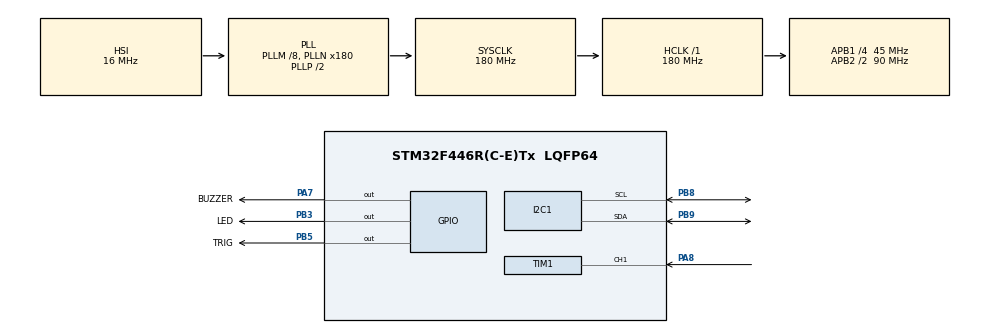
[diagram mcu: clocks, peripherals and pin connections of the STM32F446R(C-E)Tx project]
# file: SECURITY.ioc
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I2C1.I2C_Mode=I2C_Fast
Mcu.Family=STM32F4
Mcu.Name=STM32F446R(C-E)Tx
Mcu.Package=LQFP64
NVIC.PriorityGroup=NVIC_PRIORITYGROUP_4
NVIC.TIM1_CC_IRQn=true\:0\:0\:false\:false\:true\:true\:true\:true
PA7.GPIO_Label=BUZZER
PA7.Signal=GPIO_Output
PA8.Signal=S_TIM1_CH1
PB3.GPIO_Label=LED
PB3.Signal=GPIO_Output
PB5.GPIO_Label=TRIG
PB5.Signal=GPIO_Output
PB8.Mode=I2C
PB8.Signal=I2C1_SCL
PB9.Mode=I2C
PB9.Signal=I2C1_SDA
PH0-OSC_IN.Mode=HSE-External-Oscillator
PH0-OSC_IN.Signal=RCC_OSC_IN
PH1-OSC_OUT.Mode=HSE-External-Oscillator
PH1-OSC_OUT.Signal=RCC_OSC_OUT
ProjectManager.HeapSize=0x200
ProjectManager.StackSize=0x400
ProjectManager.TargetToolchain=STM32CubeIDE
RCC.AHBFreq_Value=180000000
RCC.APB1CLKDivider=RCC_HCLK_DIV4
RCC.APB1Freq_Value=45000000
RCC.APB1TimFreq_Value=90000000
RCC.APB2CLKDivider=RCC_HCLK_DIV2
RCC.APB2Freq_Value=90000000
RCC.APB2TimFreq_Value=180000000
RCC.CortexFreq_Value=180000000
RCC.HCLKFreq_Value=180000000
RCC.PLLM=8
RCC.PLLN=180
RCC.SYSCLKFreq_VALUE=180000000
RCC.SYSCLKSource=RCC_SYSCLKSOURCE_PLLCLK
RCC.USBFreq_Value=180000000
RCC.VCOOutputFreq_Value=360000000
SH.S_TIM1_CH1.0=TIM1_CH1,Input_Capture1_from_TI1
TIM1.AutoReloadPreload=TIM_AUTORELOAD_PRELOAD_ENABLE
TIM1.Channel-Input_Capture1_from_TI1=TIM_CHANNEL_1
TIM1.Prescaler=179
VP_TIM1_VS_ClockSourceINT.Mode=Internal
board=custom

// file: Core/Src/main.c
/* USER CODE BEGIN Header */
/**
  ******************************************************************************
  * @file           : main.c
  * @brief          : Proximity Alarm - Buzzer (PA7), LED (PB3), Ultrasonic (PA8/PB5)
  ******************************************************************************
  */
/* USER CODE END Header */
#include "main.h"

/* USER CODE BEGIN Includes */
#include <stdio.h>
#include "ssd1306.h"
#include "fonts.h"
/* USER CODE END Includes */

I2C_HandleTypeDef hi2c1;
TIM_HandleTypeDef htim1;

/* USER CODE BEGIN PV */
uint32_t p1 = 0, p2 = 0, diff = 0;
uint16_t distance = 0;
char buffer[32];
/* USER CODE END PV */

void SystemClock_Config(void);
static void MX_GPIO_Init(void);
static void MX_I2C1_Init(void);
static void MX_TIM1_Init(void);

int main(void)
{
  /* MCU Configuration */
  HAL_Init();
  SystemClock_Config();

  /* Initialize all configured peripherals */
  MX_GPIO_Init();
  MX_I2C1_Init();
  MX_TIM1_Init();

  /* USER CODE BEGIN 2 */
  SSD1306_Init();
  SSD1306_Fill(0);
  SSD1306_GotoXY(10, 10);
  SSD1306_Puts("ALARM SYSTEM", &Font_7x10, 1);
  SSD1306_UpdateScreen();
  HAL_Delay(1000);
  /* USER CODE END 2 */

  /* Infinite loop */
  /* USER CODE BEGIN WHILE */
  while (1)
  {
    /* 1. Trigger Pulse */
    HAL_GPIO_WritePin(GPIOB, GPIO_PIN_5, GPIO_PIN_SET); // TRIG_Pin
    HAL_Delay(1);
    HAL_GPIO_WritePin(GPIOB, GPIO_PIN_5, GPIO_PIN_RESET);

    /* 2. Enable Input Capture Interrupt */
    __HAL_TIM_ENABLE_IT(&htim1, TIM_IT_CC1);
    HAL_TIM_IC_Start_IT(&htim1, TIM_CHANNEL_1);

    HAL_Delay(100); // Measurement delay

    /* 3. Logic & OLED Display */
    SSD1306_Fill(0);

    sprintf(buffer, "Dist: %d cm", distance);
    SSD1306_GotoXY(5, 5);
    SSD1306_Puts(buffer, &Font_11x18, 1);

    // THRESHOLD MODIFICATION: 20 cm
    if (distance > 0 && distance <= 20)
    {
        HAL_GPIO_WritePin(GPIOA, GPIO_PIN_7, GPIO_PIN_SET); // BUZZER ON
        HAL_GPIO_WritePin(GPIOB, GPIO_PIN_3, GPIO_PIN_SET); // LED ON

        SSD1306_GotoXY(5, 35);
        SSD1306_Puts("STATUS: ALERT!", &Font_7x10, 1);
    }
    else
    {
        HAL_GPIO_WritePin(GPIOA, GPIO_PIN_7, GPIO_PIN_RESET); // BUZZER OFF
        HAL_GPIO_WritePin(GPIOB, GPIO_PIN_3, GPIO_PIN_RESET); // LED OFF

        SSD1306_GotoXY(5, 35);
        SSD1306_Puts("STATUS: SAFE  ", &Font_7x10, 1);
    }

    SSD1306_UpdateScreen();
    HAL_Delay(100);

    /* USER CODE END WHILE */
  }
}

void SystemClock_Config(void)
{
  RCC_OscInitTypeDef RCC_OscInitStruct = {0};
  RCC_ClkInitTypeDef RCC_ClkInitStruct = {0};

  __HAL_RCC_PWR_CLK_ENABLE();
  __HAL_PWR_VOLTAGESCALING_CONFIG(PWR_REGULATOR_VOLTAGE_SCALE1);

  RCC_OscInitStruct.OscillatorType = RCC_OSCILLATORTYPE_HSI;
  RCC_OscInitStruct.HSIState = RCC_HSI_ON;
  RCC_OscInitStruct.HSICalibrationValue = RCC_HSICALIBRATION_DEFAULT;
  RCC_OscInitStruct.PLL.PLLState = RCC_PLL_ON;
  RCC_OscInitStruct.PLL.PLLSource = RCC_PLLSOURCE_HSI;
  RCC_OscInitStruct.PLL.PLLM = 8;
  RCC_OscInitStruct.PLL.PLLN = 180;
  RCC_OscInitStruct.PLL.PLLP = RCC_PLLP_DIV2;
  RCC_OscInitStruct.PLL.PLLQ = 2;
  RCC_OscInitStruct.PLL.PLLR = 2;
  HAL_RCC_OscConfig(&RCC_OscInitStruct);
  HAL_PWREx_EnableOverDrive();

  RCC_ClkInitStruct.ClockType = RCC_CLOCKTYPE_HCLK|RCC_CLOCKTYPE_SYSCLK|RCC_CLOCKTYPE_PCLK1|RCC_CLOCKTYPE_PCLK2;
  RCC_ClkInitStruct.SYSCLKSource = RCC_SYSCLKSOURCE_PLLCLK;
  RCC_ClkInitStruct.AHBCLKDivider = RCC_SYSCLK_DIV1;
  RCC_ClkInitStruct.APB1CLKDivider = RCC_HCLK_DIV4;
  RCC_ClkInitStruct.APB2CLKDivider = RCC_HCLK_DIV2;
  HAL_RCC_ClockConfig(&RCC_ClkInitStruct, FLASH_LATENCY_5);
}

static void MX_I2C1_Init(void)
{
  hi2c1.Instance = I2C1;
  hi2c1.Init.ClockSpeed = 400000;
  hi2c1.Init.DutyCycle = I2C_DUTYCYCLE_2;
  hi2c1.Init.OwnAddress1 = 0;
  hi2c1.Init.AddressingMode = I2C_ADDRESSINGMODE_7BIT;
  hi2c1.Init.DualAddressMode = I2C_DUALADDRESS_DISABLE;
  hi2c1.Init.OwnAddress2 = 0;
  hi2c1.Init.GeneralCallMode = I2C_GENERALCALL_DISABLE;
  hi2c1.Init.NoStretchMode = I2C_NOSTRETCH_DISABLE;
  HAL_I2C_Init(&hi2c1);
}

static void MX_TIM1_Init(void)
{
  TIM_ClockConfigTypeDef sClockSourceConfig = {0};
  TIM_MasterConfigTypeDef sMasterConfig = {0};
  TIM_IC_InitTypeDef sConfigIC = {0};

  htim1.Instance = TIM1;
  htim1.Init.Prescaler = 179; // 180MHz Clock
  htim1.Init.CounterMode = TIM_COUNTERMODE_UP;
  htim1.Init.Period = 65535;
  htim1.Init.ClockDivision = TIM_CLOCKDIVISION_DIV1;
  htim1.Init.RepetitionCounter = 0;
  htim1.Init.AutoReloadPreload = TIM_AUTORELOAD_PRELOAD_ENABLE;
  HAL_TIM_Base_Init(&htim1);
  sClockSourceConfig.ClockSource = TIM_CLOCKSOURCE_INTERNAL;
  HAL_TIM_ConfigClockSource(&htim1, &sClockSourceConfig);
  HAL_TIM_IC_Init(&htim1);

  sMasterConfig.MasterOutputTrigger = TIM_TRGO_RESET;
  sMasterConfig.MasterSlaveMode = TIM_MASTERSLAVEMODE_DISABLE;
  HAL_TIMEx_MasterConfigSynchronization(&htim1, &sMasterConfig);

  sConfigIC.ICPolarity = TIM_INPUTCHANNELPOLARITY_RISING;
  sConfigIC.ICSelection = TIM_ICSELECTION_DIRECTTI;
  sConfigIC.ICPrescaler = TIM_ICPSC_DIV1;
  sConfigIC.ICFilter = 0;
  HAL_TIM_IC_ConfigChannel(&htim1, &sConfigIC, TIM_CHANNEL_1);
}

static void MX_GPIO_Init(void)
{
  GPIO_InitTypeDef GPIO_InitStruct = {0};
  __HAL_RCC_GPIOA_CLK_ENABLE();
  __HAL_RCC_GPIOB_CLK_ENABLE();

  HAL_GPIO_WritePin(GPIOA, GPIO_PIN_7, GPIO_PIN_RESET); // BUZZER
  HAL_GPIO_WritePin(GPIOB, GPIO_PIN_3, GPIO_PIN_RESET); // LED
  HAL_GPIO_WritePin(GPIOB, GPIO_PIN_5, GPIO_PIN_RESET); // TRIG

  // PA7 -> BUZZER
  GPIO_InitStruct.Pin = GPIO_PIN_7;
  GPIO_InitStruct.Mode = GPIO_MODE_OUTPUT_PP;
  GPIO_InitStruct.Pull = GPIO_NOPULL;
  GPIO_InitStruct.Speed = GPIO_SPEED_FREQ_LOW;
  HAL_GPIO_Init(GPIOA, &GPIO_InitStruct);

  // PB3 -> LED, PB5 -> TRIG
  GPIO_InitStruct.Pin = GPIO_PIN_3|GPIO_PIN_5;
  HAL_GPIO_Init(GPIOB, &GPIO_InitStruct);
}

/* USER CODE BEGIN 4 */
void HAL_TIM_IC_CaptureCallback(TIM_HandleTypeDef *htim)
{
    if (htim->Instance == TIM1)
    {
        if (HAL_GPIO_ReadPin(GPIOA, GPIO_PIN_8) == GPIO_PIN_SET) // Echo Pin PA8
        {
            p1 = HAL_TIM_ReadCapturedValue(htim, TIM_CHANNEL_1);
            __HAL_TIM_SET_CAPTUREPOLARITY(htim, TIM_CHANNEL_1, TIM_INPUTCHANNELPOLARITY_FALLING);
        }
        else if (HAL_GPIO_ReadPin(GPIOA, GPIO_PIN_8) == GPIO_PIN_RESET)
        {
            p2 = HAL_TIM_ReadCapturedValue(htim, TIM_CHANNEL_1);
            if (p2 > p1) diff = p2 - p1;
            else diff = (0xFFFF - p1) + p2;
            distance = diff * 0.034 / 2;
            __HAL_TIM_SET_CAPTUREPOLARITY(htim, TIM_CHANNEL_1, TIM_INPUTCHANNELPOLARITY_RISING);
            __HAL_TIM_DISABLE_IT(htim, TIM_IT_CC1);
            HAL_TIM_IC_Stop_IT(htim, TIM_CHANNEL_1);
        }
    }
}
/* USER CODE END 4 */

void Error_Handler(void)
{
  __disable_irq();
  while (1) {}
}
